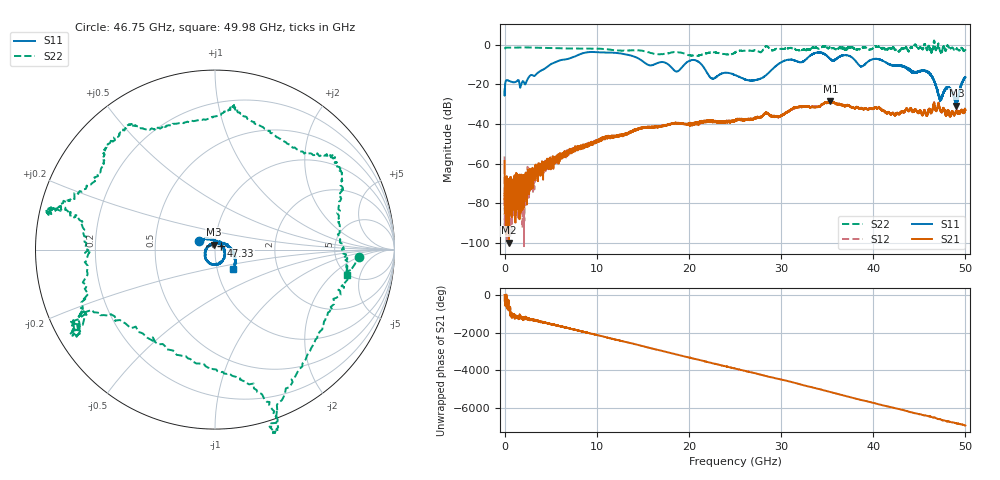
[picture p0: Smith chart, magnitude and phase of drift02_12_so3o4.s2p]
!Created with skrf (http://scikit-rf.org).
# Hz S RI R 50.0
!freq ReS11 ImS11 ReS21 ImS21 ReS12 ImS12 ReS22 ImS22
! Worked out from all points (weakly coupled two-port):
!   10001 points, 300 kHz to 50 GHz, reference 50 ohm
!   highest |S21| = -28.54 dB at 35.35 GHz (marker M1); lowest = -99.9 dB at 455.3 MHz (marker M2)
!   lowest |S11| = -30.7 dB at 49.02 GHz (marker M3), VSWR 1.06, Z = 49.2 + j2.77 ohm
!   |S11| at or under -10 dB: start of sweep to 4.958 GHz; 21.37 GHz to 29.64 GHz (8.262 GHz wide, 32.4 % of centre); 41.81 GHz to end of sweep (the widest 3 of 6)
!   |S22| runs from -5.7 to 2.2 dB; largest |S21 - S12| = 0.0032
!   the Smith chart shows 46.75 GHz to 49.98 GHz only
!   S11 on the Smith chart (normalised r, x): 46.75 GHz: 0.84, +0.08; 47.33 GHz: 1.07, +0.05; 49.98 GHz: 1.20, -0.27
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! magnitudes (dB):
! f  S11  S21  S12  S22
! 300 kHz  -22.5  -58.7  -56.3  -2.1
! 255.3 MHz  -17.9  -72.8  -84.7  -1.4
! 455.3 MHz  -18.2  -99.9  -76.7  -1.5
! 1.87 GHz  -19.1  -71.9  -68.3  -1.3
! 3.57 GHz  -14.3  -61.6  -65.1  -1.5
! 8.335 GHz  -4.5  -52.5  -51.9  -1.9
! 16.67 GHz  -9.1  -41.4  -41.5  -4.8
! 18.69 GHz  -13.5  -39.5  -39.4  -3.7
! 20.6 GHz  -7.7  -39.9  -39.7  -5.7
! 22.5 GHz  -17.1  -38.8  -38.7  -3.7
! 25 GHz  -15.3  -38.0  -38.5  -3.9
! 27.45 GHz  -17.6  -37.0  -36.7  -3.1
! 33.34 GHz  -5.0  -31.3  -31.3  -1.6
! 35.35 GHz  -7.2  -28.5  -28.8  -1.5
! 41.67 GHz  -9.7  -34.1  -34.3  -1.9
! 45.74 GHz  -13.1  -35.4  -35.4  -1.4
! 46.75 GHz  -20.1  -32.5  -32.5  -1.9
! 47.33 GHz  -27.5  -33.3  -33.5  -3.8
! 48.14 GHz  -21.4  -33.4  -33.1  -0.8
! 49.02 GHz  -30.7  -33.8  -34.0  -2.1
! 49.98 GHz  -16.5  -32.5  -32.5  -2.5
! 50 GHz  -16.4  -33.0  -32.7  -2.6
